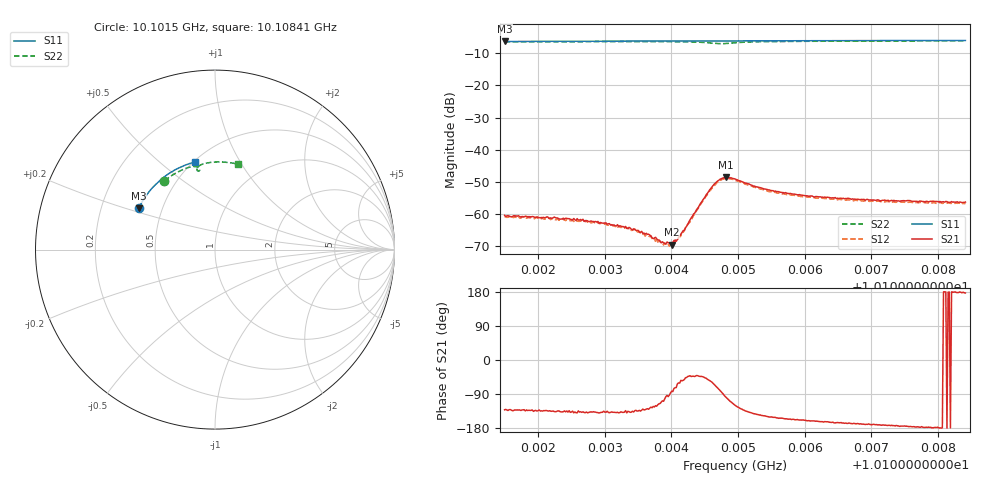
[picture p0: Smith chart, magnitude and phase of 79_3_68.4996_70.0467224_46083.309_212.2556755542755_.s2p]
#  HZ  S  RI  R  50.00
! Rohde & Schwarz Vector Network Analyzer
! Rohde-Schwarz,ZNB20-2Port,1311601062101988,3.16
! Created: UTC 3/20/2024, 5:07:14 PM
! freq[Hz]  re:S11  im:S11  re:S21  im:S21  re:S12  im:S12  re:S22  im:S22
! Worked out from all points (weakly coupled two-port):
!   401 points, 10.1015 GHz to 10.10841 GHz, reference 50 ohm
!   highest |S21| = -48.58 dB at 10.10482 GHz (marker M1); lowest = -69.5 dB at 10.10401 GHz (marker M2)
!   lowest |S11| = -6.3 dB at 10.1015 GHz (marker M3), VSWR 2.87, Z = 18.4 + j11.1 ohm
!   |S11| at or under -10 dB: nowhere
!   |S22| runs from -7.0 to -6.1 dB; largest |S21 - S12| = 0.0004
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1.01015e10  -0.4246 0.2309  -0.00063 -0.000717  -0.000537 -0.000744  -0.2817 0.3833
1.0102001e10  -0.4106 0.258  -0.000618 -0.000644  -0.000561 -0.000655  -0.2556 0.403
1.0102657e10  -0.3897 0.292  -0.000596 -0.000533  -0.00052 -0.000561  -0.2193 0.4259
1.0103037e10  -0.3763 0.3109  -0.000496 -0.000492  -0.000461 -0.000493  -0.1971 0.4376
1.0103348e10  -0.3647 0.3257  -0.000426 -0.000421  -0.000386 -0.000457  -0.1779 0.4464
1.0103659e10  -0.3525 0.3402  -0.000313 -0.000373  -0.000259 -0.000374  -0.1579 0.4541
1.0103815e10  -0.3462 0.3473  -0.000172 -0.000357  -0.000145 -0.000354  -0.147 0.4576
1.0103884e10  -0.3434 0.3502  -0.000115 -0.000338  -5.19e-05 -0.000327  -0.1422 0.4589
1.0104005e10  -0.3381 0.3557  4.44e-05 -0.000331  6.62e-05 -0.00035  -0.1332 0.461
1.0104109e10  -0.334 0.3602  0.000208 -0.000366  0.000244 -0.000362  -0.1252 0.4623
1.0104161e10  -0.3316 0.3625  0.000296 -0.000425  0.000346 -0.00038  -0.1209 0.4627
1.0104437e10  -0.3196 0.374  0.00106 -0.001  0.0011 -0.000875  -0.0967 0.4597
1.010461e10  -0.3117 0.381  0.00139 -0.00225  0.0015 -0.00203  -0.0854 0.4476
1.0104713e10  -0.3071 0.385  0.000741 -0.00328  0.000966 -0.0031  -0.088 0.4387
1.0104817e10  -0.3024 0.389  -0.000496 -0.00369  -0.000145 -0.00353  -0.0965 0.4383
1.0104955e10  -0.296 0.3945  -0.00173 -0.00307  -0.00139 -0.00308  -0.1003 0.4498
1.0105249e10  -0.2822 0.4056  -0.00214 -0.00168  -0.00192 -0.00178  -0.0837 0.4694
1.0105456e10  -0.2722 0.4131  -0.00206 -0.00119  -0.00184 -0.00129  -0.0687 0.4764
1.0106113e10  -0.2389 0.435  -0.0018 -0.000629  -0.00167 -0.000771  -0.0227 0.4861
1.0106597e10  -0.2133 0.4492  -0.00169 -0.000388  -0.00156 -0.000531  0.00938 0.4884
1.010727e10  -0.1764 0.4665  -0.00158 -0.00022  -0.00151 -0.000342  0.0535 0.4875
1.0108411e10  -0.1111 0.4885  -0.00154 8.3e-05  -0.00144 -9.88e-05  0.1259 0.4766
